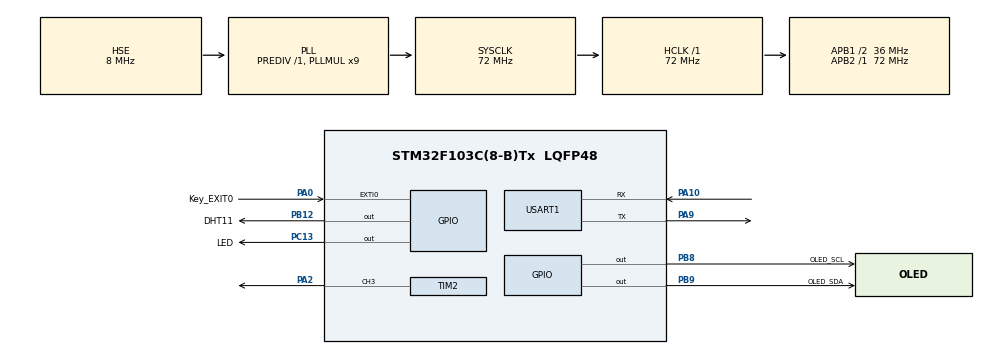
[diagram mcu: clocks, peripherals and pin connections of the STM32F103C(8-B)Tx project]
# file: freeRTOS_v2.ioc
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Dma.Request0=USART1_TX
Dma.Request1=USART1_RX
Dma.USART1_RX.1.Direction=DMA_PERIPH_TO_MEMORY
Dma.USART1_RX.1.Instance=DMA1_Channel5
Dma.USART1_RX.1.MemDataAlignment=DMA_MDATAALIGN_BYTE
Dma.USART1_RX.1.MemInc=DMA_MINC_ENABLE
Dma.USART1_RX.1.Mode=DMA_CIRCULAR
Dma.USART1_RX.1.PeriphDataAlignment=DMA_PDATAALIGN_BYTE
Dma.USART1_RX.1.PeriphInc=DMA_PINC_DISABLE
Dma.USART1_RX.1.Priority=DMA_PRIORITY_HIGH
Dma.USART1_TX.0.Direction=DMA_MEMORY_TO_PERIPH
Dma.USART1_TX.0.Instance=DMA1_Channel4
Dma.USART1_TX.0.MemDataAlignment=DMA_MDATAALIGN_BYTE
Dma.USART1_TX.0.MemInc=DMA_MINC_ENABLE
Dma.USART1_TX.0.Mode=DMA_NORMAL
Dma.USART1_TX.0.PeriphDataAlignment=DMA_PDATAALIGN_BYTE
Dma.USART1_TX.0.PeriphInc=DMA_PINC_DISABLE
Dma.USART1_TX.0.Priority=DMA_PRIORITY_HIGH
FREERTOS.BinarySemaphores01=Key_Event_Sem,Dynamic,NULL,Available
FREERTOS.Mutexes01=DeviceStatus_Mutex,Dynamic,NULL,Available
FREERTOS.Queues01=BT_Rx_Queue,3,uint16_t,0,Dynamic,NULL,NULL;Ctrl_Cmd_Queue,3,uint32_t,0,Dynamic,NULL,NULL;BT_Tx_Queue,3,16,1,Dynamic,NULL,NULL;Display_Data_Queue,2,uint16_t,0,Dynamic,NULL,NULL
FREERTOS.Tasks01=BT_Comm_Task,2,128,StartBTCommTask,Default,NULL,Dynamic,NULL,NULL;Ctrl_Exec_Task,1,128,StartCtrlExecTask,Default,NULL,Dynamic,NULL,NULL;Data_Sample_Tas,0,128,StartDataSampleTask,Default,NULL,Dynamic,NULL,NULL;Key_OLED_Task,-1,128,StartOLEDTask,Default,NULL,Dynamic,NULL,NULL
FREERTOS.configTOTAL_HEAP_SIZE=3840
Mcu.Family=STM32F1
Mcu.Name=STM32F103C(8-B)Tx
Mcu.Package=LQFP48
NVIC.DMA1_Channel4_IRQn=true\:5\:0\:false\:false\:true\:true\:false\:true\:true
NVIC.DMA1_Channel5_IRQn=true\:5\:0\:false\:false\:true\:true\:false\:true\:true
NVIC.EXTI0_IRQn=true\:5\:0\:false\:false\:true\:true\:true\:true\:true
NVIC.PriorityGroup=NVIC_PRIORITYGROUP_4
NVIC.TIM4_IRQn=true\:15\:0\:false\:false\:true\:false\:false\:true\:true
NVIC.TimeBase=TIM4_IRQn
NVIC.TimeBaseIP=TIM4
NVIC.USART1_IRQn=true\:5\:0\:false\:false\:true\:true\:false\:true\:true
PA0-WKUP.GPIO_Label=Key_EXIT0
PA0-WKUP.GPIO_ModeDefaultEXTI=GPIO_MODE_IT_FALLING
PA0-WKUP.GPIO_PuPd=GPIO_PULLUP
PA0-WKUP.Signal=GPXTI0
PA10.Mode=Asynchronous
PA10.Signal=USART1_RX
PA13.Mode=Serial_Wire
PA13.Signal=SYS_JTMS-SWDIO
PA14.Mode=Serial_Wire
PA14.Signal=SYS_JTCK-SWCLK
PA2.Signal=S_TIM2_CH3
PA9.Mode=Asynchronous
PA9.Signal=USART1_TX
PB12.GPIO_Label=DHT11
PB12.GPIO_ModeDefaultOutputPP=GPIO_MODE_OUTPUT_OD
PB12.GPIO_PuPd=GPIO_PULLUP
PB12.Signal=GPIO_Output
PB8.GPIO_Label=OLED_SCL
PB8.GPIO_PuPd=GPIO_PULLUP
PB8.Signal=GPIO_Output
PB9.GPIO_Label=OLED_SDA
PB9.GPIO_ModeDefaultOutputPP=GPIO_MODE_OUTPUT_OD
PB9.GPIO_PuPd=GPIO_PULLUP
PB9.Signal=GPIO_Output
PC13-TAMPER-RTC.GPIO_Label=LED
PC13-TAMPER-RTC.GPIO_ModeDefaultOutputPP=GPIO_MODE_OUTPUT_PP
PC13-TAMPER-RTC.Signal=GPIO_Output
PD0-OSC_IN.Mode=HSE-External-Oscillator
PD0-OSC_IN.Signal=RCC_OSC_IN
PD1-OSC_OUT.Mode=HSE-External-Oscillator
PD1-OSC_OUT.Signal=RCC_OSC_OUT
ProjectManager.HeapSize=0x200
ProjectManager.StackSize=0x400
ProjectManager.TargetToolchain=MDK-ARM V5.32
RCC.AHBFreq_Value=72000000
RCC.APB1CLKDivider=RCC_HCLK_DIV2
RCC.APB1Freq_Value=36000000
RCC.APB1TimFreq_Value=72000000
RCC.APB2Freq_Value=72000000
RCC.APB2TimFreq_Value=72000000
RCC.HCLKFreq_Value=72000000
RCC.PLLMUL=RCC_PLL_MUL9
RCC.PLLSourceVirtual=RCC_PLLSOURCE_HSE
RCC.SYSCLKFreq_VALUE=72000000
RCC.SYSCLKSource=RCC_SYSCLKSOURCE_PLLCLK
RCC.USBFreq_Value=72000000
SH.S_TIM2_CH3.0=TIM2_CH3,PWM Generation3 CH3
TIM2.AutoReloadPreload=TIM_AUTORELOAD_PRELOAD_ENABLE
TIM2.Channel-PWM\ Generation3\ CH3=TIM_CHANNEL_3
TIM2.Period=1999
TIM2.Prescaler=719
TIM2.Pulse-PWM\ Generation3\ CH3=150
USART1.VirtualMode=VM_ASYNC
VP_FREERTOS_VS_CMSIS_V1.Mode=CMSIS_V1
VP_SYS_VS_tim4.Mode=TIM4
VP_TIM2_VS_ClockSourceINT.Mode=Internal
board=custom

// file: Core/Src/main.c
/* USER CODE BEGIN Header */
/**
  ******************************************************************************
  * @file           : main.c
  * @brief          : Main program body
  ******************************************************************************
  * @attention
  *
  * Copyright (c) 2026 STMicroelectronics.
  * All rights reserved.
  *
  * This software is licensed under terms that can be found in the LICENSE file
  * in the root directory of this software component.
  * If no LICENSE file comes with this software, it is provided AS-IS.
  *
  ******************************************************************************
  */
/* USER CODE END Header */
#include "main.h"
#include "cmsis_os.h"
#include "dma.h"
#include "tim.h"
#include "usart.h"
#include "gpio.h"

/* USER CODE BEGIN Includes */
#include "led.h"
#include "key.h"
/* USER CODE END Includes */

void SystemClock_Config(void);
void MX_FREERTOS_Init(void);

int main(void)
{

  /* MCU Configuration--------------------------------------------------------*/

  /* Reset of all peripherals, Initializes the Flash interface and the Systick. */
  HAL_Init();

  /* Configure the system clock */
  SystemClock_Config();

  /* Initialize all configured peripherals */
  MX_GPIO_Init();
  MX_DMA_Init();
  MX_USART1_UART_Init();
  MX_TIM2_Init();
  /* USER CODE BEGIN 2 */
  led_init();
  /* USER CODE END 2 */

  /* Call init function for freertos objects (in cmsis_os2.c) */
  MX_FREERTOS_Init();

  /* Start scheduler */
  osKernelStart();

  /* We should never get here as control is now taken by the scheduler */

  /* Infinite loop */
  while (1)
  {

  }
}

void SystemClock_Config(void)
{
  RCC_OscInitTypeDef RCC_OscInitStruct = {0};
  RCC_ClkInitTypeDef RCC_ClkInitStruct = {0};

  /** Initializes the RCC Oscillators according to the specified parameters
  * in the RCC_OscInitTypeDef structure.
  */
  RCC_OscInitStruct.OscillatorType = RCC_OSCILLATORTYPE_HSE;
  RCC_OscInitStruct.HSEState = RCC_HSE_ON;
  RCC_OscInitStruct.HSEPredivValue = RCC_HSE_PREDIV_DIV1;
  RCC_OscInitStruct.HSIState = RCC_HSI_ON;
  RCC_OscInitStruct.PLL.PLLState = RCC_PLL_ON;
  RCC_OscInitStruct.PLL.PLLSource = RCC_PLLSOURCE_HSE;
  RCC_OscInitStruct.PLL.PLLMUL = RCC_PLL_MUL9;
  if (HAL_RCC_OscConfig(&RCC_OscInitStruct) != HAL_OK)
  {
    Error_Handler();
  }

  /** Initializes the CPU, AHB and APB buses clocks
  */
  RCC_ClkInitStruct.ClockType = RCC_CLOCKTYPE_HCLK|RCC_CLOCKTYPE_SYSCLK
                              |RCC_CLOCKTYPE_PCLK1|RCC_CLOCKTYPE_PCLK2;
  RCC_ClkInitStruct.SYSCLKSource = RCC_SYSCLKSOURCE_PLLCLK;
  RCC_ClkInitStruct.AHBCLKDivider = RCC_SYSCLK_DIV1;
  RCC_ClkInitStruct.APB1CLKDivider = RCC_HCLK_DIV2;
  RCC_ClkInitStruct.APB2CLKDivider = RCC_HCLK_DIV1;

  if (HAL_RCC_ClockConfig(&RCC_ClkInitStruct, FLASH_LATENCY_2) != HAL_OK)
  {
    Error_Handler();
  }
}

void HAL_TIM_PeriodElapsedCallback(TIM_HandleTypeDef *htim)
{
  if (htim->Instance == TIM4)
  {
    HAL_IncTick();
  }
}

void Error_Handler(void)
{
  __disable_irq();
  while (1)
  {
  }
}

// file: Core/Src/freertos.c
/* USER CODE BEGIN Header */
/**
  ******************************************************************************
  * File Name          : freertos.c
  * Description        : Code for freertos applications
  ******************************************************************************
  * @attention
  *
  * Copyright (c) 2026 STMicroelectronics.
  * All rights reserved.
  *
  * This software is licensed under terms that can be found in the LICENSE file
  * in the root directory of this software component.
  * If no LICENSE file comes with this software, it is provided AS-IS.
  *
  ******************************************************************************
  */
/* USER CODE END Header */

#include "FreeRTOS.h"
#include "task.h"
#include "queue.h"
#include "main.h"
#include "cmsis_os.h"

/* USER CODE BEGIN Includes */
#include <stdio.h>
#include <string.h>
#include "led.h"
#include "key.h"
#include "dht11.h"
#include "OLED.h"
#include "jdy31.h"
#include "sg90.h"

/* USER CODE END Includes */

/* USER CODE BEGIN Variables */

typedef struct {
  float temperature;
  float humidity;
  uint8_t led_state;
  uint8_t sg90_angle;
} Display_Data_Typedef;

// 对应项目文档的全局设备状态结构体，紧凑对齐节省内存
typedef struct __attribute__((packed)) {
    float temperature;    // 温度值
    float humidity;       // 湿度值
    uint8_t led_state;    // LED状态：0-灭 1-亮 2-闪烁中
    uint8_t sg90_angle;   // SG90当前角度（0-180°）
    uint8_t oled_page;    // OLED当前画面号：0-温湿度画面 1-状态画面
} DeviceStatus_Typedef;

// 全局设备状态变量，仅通过互斥锁访问
DeviceStatus_Typedef g_device_status = {0};

/************************* 蓝牙通信协议定义 *************************/
// 协议帧定义：帧头(0xAA) + 指令码(1字节) + 数据段(1字节) + 校验和(1字节) + 帧尾(0x55) = 5字节
#define PROTO_FRAME_HEAD    0xAA    // 帧头
#define PROTO_FRAME_TAIL    0x55    // 帧尾
#define PROTO_DATA_SIZE     1       // 数据段大小（角度值0-180°，1字节足够）
#define PROTO_FRAME_SIZE    5       // 完整帧大小

// 指令码定义（手机APP→设备，下行控制指令）
#define CMD_LED_ON          0x01    // 点亮LED
#define CMD_LED_OFF         0x02    // 熄灭LED
#define CMD_LED_BLINK       0x03    // LED闪烁
#define CMD_SG90_SET_ANGLE  0x04    // 设置SG90角度
#define CMD_GET_STATUS      0x05    // 查询设备状态

// 指令码定义（设备→手机APP，上行数据指令）
#define CMD_REPORT_STATUS   0x10    // 上报设备状态
#define CMD_REPORT_SENSOR   0x11    // 上报温湿度数据
#define CMD_ACK             0xFF    // 应答指令

// 下行控制指令结构体（推送到Ctrl_Cmd_Queue）
typedef struct __attribute__((packed)) {
    uint8_t cmd_code;       // 指令码
    uint8_t param[PROTO_DATA_SIZE];  // 数据段
} Ctrl_Cmd_Typedef;

// 上行数据报文结构体（推送到BT_Tx_Queue）
typedef struct __attribute__((packed)) {
    uint8_t cmd_code;       // 指令码
    uint8_t data[PROTO_DATA_SIZE];   // 数据段
}

BT_Tx_Msg_Typedef;

/* USER CODE END Variables */
osThreadId BT_Comm_TaskHandle;
osThreadId Ctrl_Exec_TaskHandle;
osThreadId Data_Sample_TasHandle;
osThreadId Key_OLED_TaskHandle;
osMessageQId BT_Rx_QueueHandle;
osMessageQId Ctrl_Cmd_QueueHandle;
osMessageQId BT_Tx_QueueHandle;
QueueHandle_t Display_Data_QueueHandle;
osMutexId DeviceStatus_MutexHandle;
osSemaphoreId Key_Event_SemHandle;

void StartBTCommTask(void const * argument);
void StartCtrlExecTask(void const * argument);
void StartDataSampleTask(void const * argument);
void StartOLEDTask(void const * argument);

void MX_FREERTOS_Init(void); /* (MISRA C 2004 rule 8.1) */

/* GetIdleTaskMemory prototype (linked to static allocation support) */
void vApplicationGetIdleTaskMemory( StaticTask_t **ppxIdleTaskTCBBuffer, StackType_t **ppxIdleTaskStackBuffer, uint32_t *pulIdleTaskStackSize );

/* USER CODE BEGIN GET_IDLE_TASK_MEMORY */
static StaticTask_t xIdleTaskTCBBuffer;
static StackType_t xIdleStack[configMINIMAL_STACK_SIZE];

void vApplicationGetIdleTaskMemory( StaticTask_t **ppxIdleTaskTCBBuffer, StackType_t **ppxIdleTaskStackBuffer, uint32_t *pulIdleTaskStackSize )
{
  *ppxIdleTaskTCBBuffer = &xIdleTaskTCBBuffer;
  *ppxIdleTaskStackBuffer = &xIdleStack[0];
  *pulIdleTaskStackSize = configMINIMAL_STACK_SIZE;
  /* place for user code */
}
/* USER CODE END GET_IDLE_TASK_MEMORY */

void MX_FREERTOS_Init(void) {
  /* Create the mutex(es) */
  /* definition and creation of DeviceStatus_Mutex */
  osMutexDef(DeviceStatus_Mutex);
  DeviceStatus_MutexHandle = osMutexCreate(osMutex(DeviceStatus_Mutex));

  /* Create the semaphores(s) */
  /* definition and creation of Key_Event_Sem */
  osSemaphoreDef(Key_Event_Sem);
  Key_Event_SemHandle = osSemaphoreCreate(osSemaphore(Key_Event_Sem), 1);

  /* Create the queue(s) */
  /* definition and creation of BT_Rx_Queue */
  osMessageQDef(BT_Rx_Queue, 3, uint16_t);
  BT_Rx_QueueHandle = osMessageCreate(osMessageQ(BT_Rx_Queue), NULL);

  /* definition and creation of Ctrl_Cmd_Queue */
  osMessageQDef(Ctrl_Cmd_Queue, 3, uint32_t);
  Ctrl_Cmd_QueueHandle = osMessageCreate(osMessageQ(Ctrl_Cmd_Queue), NULL);

  /* definition and creation of BT_Tx_Queue */
  osMessageQDef(BT_Tx_Queue, 3, 16);
  BT_Tx_QueueHandle = osMessageCreate(osMessageQ(BT_Tx_Queue), NULL);

  /* definition and creation of Display_Data_Queue (by value, FreeRTOS queue) */
  Display_Data_QueueHandle = xQueueCreate(2, sizeof(Display_Data_Typedef));

  /* Create the thread(s) */
  /* definition and creation of BT_Comm_Task */
  osThreadDef(BT_Comm_Task, StartBTCommTask, osPriorityHigh, 0, 196);
  BT_Comm_TaskHandle = osThreadCreate(osThread(BT_Comm_Task), NULL);

  /* definition and creation of Ctrl_Exec_Task */
  osThreadDef(Ctrl_Exec_Task, StartCtrlExecTask, osPriorityAboveNormal, 0, 128);
  Ctrl_Exec_TaskHandle = osThreadCreate(osThread(Ctrl_Exec_Task), NULL);

  /* definition and creation of Data_Sample_Tas */
  osThreadDef(Data_Sample_Tas, StartDataSampleTask, osPriorityNormal, 0, 128);
  Data_Sample_TasHandle = osThreadCreate(osThread(Data_Sample_Tas), NULL);

  /* definition and creation of Key_OLED_Task */
  osThreadDef(Key_OLED_Task, StartOLEDTask, osPriorityBelowNormal, 0, 128);
  Key_OLED_TaskHandle = osThreadCreate(osThread(Key_OLED_Task), NULL);

}

void StartBTCommTask(void const * argument)
{
  /* USER CODE BEGIN StartBTCommTask */
  // 初始化JDY31驱动并设置接收队列
  JDY31_Init();
  JDY31_SetRxQueue(BT_Rx_QueueHandle);

  uint8_t *rx_buf = JDY31_GetRxBuf();
  uint16_t rx_len;
  osEvent rx_event;
  char *tx_data;  // 发送数据指针（从队列获取）
  for(;;)
  {
    /* ============ 阶段1：阻塞等待接收队列 ============ */
    // 阻塞等待USART1空闲中断推送到队列的消息（接收到的数据长度）
    // 修改：使用10ms超时而非osWaitForever，确保能定期检查发送队列
    rx_event = osMessageGet(BT_Rx_QueueHandle, pdMS_TO_TICKS(10));

    if (rx_event.status == osEventMessage)
    {
      rx_len = JDY31_GetRxLen();

      if (rx_len > 0)
      {
        /* ============ 阶段2：文本指令解析 ============ */
        // 将接收到的数据作为字符串处理（以\r\n结尾）
        rx_buf[rx_len] = '\0';  // 添加字符串结束符

        // 解析文本指令
        Ctrl_Cmd_Typedef ctrl_cmd;
        memset(ctrl_cmd.param, 0, PROTO_DATA_SIZE);
        ctrl_cmd.cmd_code = 0;

        // 比较指令字符串
        if (strncmp((char*)rx_buf, "LED_ON", 6) == 0)
        {
          ctrl_cmd.cmd_code = CMD_LED_ON;
        }
        else if (strncmp((char*)rx_buf, "LED_OFF", 7) == 0)
        {
          ctrl_cmd.cmd_code = CMD_LED_OFF;
        }
        else if (strncmp((char*)rx_buf, "LED_BLINK", 9) == 0)
        {
          ctrl_cmd.cmd_code = CMD_LED_BLINK;
        }
        else if (strncmp((char*)rx_buf, "SET_ANGLE=", 10) == 0)
        {
          // 解析角度参数：SET_ANGLE=90
          ctrl_cmd.cmd_code = CMD_SG90_SET_ANGLE;
          uint8_t angle = 0;
          // 方法1：使用sscanf解析
          // 从rx_buf[10]开始解析数字（跳过"SET_ANGLE="）
          // 例如："SET_ANGLE=90\r\n" → 从位置10开始是"90\r\n"
          if (rx_event.value.v > 10)
          {
            sscanf((char*)&rx_buf[10], "%hhu", &angle);
          }
          ctrl_cmd.param[0] = angle;  // 角度参数存储到param[0]
        }
        else if (strncmp((char*)rx_buf, "GET_STATUS", 10) == 0)
        {
          ctrl_cmd.cmd_code = CMD_GET_STATUS;
        }

        // 如果解析到有效指令，推送到控制指令队列
        if (ctrl_cmd.cmd_code != 0)
        {
          osMessagePut(Ctrl_Cmd_QueueHandle, *(uint32_t*)&ctrl_cmd, 0);
        }
        // 清空接收缓冲区
        JDY31_ClearRxBuf();
      }
    }

    /* ============ 阶段3：阻塞等待发送队列 ============ */
    // 阻塞等待发送队列中的温湿度数据（最多等待10ms）
    rx_event = osMessageGet(BT_Tx_QueueHandle, pdMS_TO_TICKS(10));

    if (rx_event.status == osEventMessage)
    {
      // 从队列获取数据指针（BT_Tx_Queue现在传递的是数据地址）
      tx_data = (char*)rx_event.value.p;

      // 直接发送纯文本数据（不经过协议帧封装）
      if (tx_data != NULL)
      {
        JDY31_DMA_Send((uint8_t*)tx_data, strlen(tx_data));
      }
    }
    else
    {
      // 发送队列为空，强制让出CPU，避免连续处理时占用过多时间
      osDelay(1);
    }
  }
  /* USER CODE END StartBTCommTask */
}

void StartCtrlExecTask(void const * argument)
{
  /* USER CODE BEGIN StartCtrlExecTask */
  // 初始化硬件外设
  sg90_init();  // 初始化SG90舵机（设置到90°中间位置）

  // 声明控制指令接收事件
  osEvent cmd_event;

  // 静态发送缓冲区（用于发送状态反馈消息）
  static char status_buf[64];

  // 声明switch中使用的变量
  float temp = 0.0f, humi = 0.0f;
  uint8_t led = 0, angle = 0;
  const char *led_str = NULL;
  int len = 0;

  for(;;)
  {
    // 阻塞等待控制指令队列（无限等待）
    cmd_event = osMessageGet(Ctrl_Cmd_QueueHandle, osWaitForever);

    if (cmd_event.status == osEventMessage)
    {
      // 将队列中的32位数据转换为Ctrl_Cmd_Typedef结构体
      Ctrl_Cmd_Typedef *ctrl_cmd = (Ctrl_Cmd_Typedef*)&cmd_event.value.v;

      // 根据指令码执行相应控制动作
      switch (ctrl_cmd->cmd_code)
      {
        case CMD_LED_ON:
          led_on();
          // 更新全局设备状态
          if (osMutexWait(DeviceStatus_MutexHandle, 100) == osOK)
          {
            g_device_status.led_state = 1;
            osMutexRelease(DeviceStatus_MutexHandle);
          }
          break;

        case CMD_LED_OFF:
          led_off();
          // 更新全局设备状态
          if (osMutexWait(DeviceStatus_MutexHandle, 100) == osOK)
          {
            g_device_status.led_state = 0;
            osMutexRelease(DeviceStatus_MutexHandle);
          }
          break;

        case CMD_LED_BLINK:
          // LED闪烁5次
          for (uint8_t i = 0; i < 5; i++)
          {
            led_on();
            osDelay(200);
            led_off();
            osDelay(200);
          }
          // 更新全局设备状态
          if (osMutexWait(DeviceStatus_MutexHandle, 100) == osOK)
          {
            g_device_status.led_state = 0;
            osMutexRelease(DeviceStatus_MutexHandle);
          }
          break;

        case CMD_SG90_SET_ANGLE:
          // 设置SG90角度（参数存储在param[0]中）
          sg90_set_angle(ctrl_cmd->param[0]);
          // 更新全局设备状态
          if (osMutexWait(DeviceStatus_MutexHandle, 100) == osOK)
          {
            g_device_status.sg90_angle = ctrl_cmd->param[0];
            osMutexRelease(DeviceStatus_MutexHandle);
          }
          break;

        case CMD_GET_STATUS:
          // 查询设备状态，格式化发送到蓝牙
          // 格式："LED:ON SG90:90 T:28.5C H:60.2%\r\n"
          if (osMutexWait(DeviceStatus_MutexHandle, 100) == osOK)
          {
            led = g_device_status.led_state;
            angle = g_device_status.sg90_angle;
            temp = g_device_status.temperature;
            humi = g_device_status.humidity;
            osMutexRelease(DeviceStatus_MutexHandle);
          }

          led_str = (led == 1) ? "ON" : ((led == 2) ? "BLK" : "OFF");
          len = snprintf(status_buf, sizeof(status_buf),
                        "LED:%s SG90:%d T:%.1fC H:%.1f%%\r\n",
                        led_str, angle, temp, humi);
          if (len > 0 && len <= sizeof(status_buf))
          {
            osMessagePut(BT_Tx_QueueHandle, (uint32_t)status_buf, 0);
          }
          break;

        default:
          // 未知指令，忽略
          break;
      }
    }
  }
  /* USER CODE END StartCtrlExecTask */
}

void StartDataSampleTask(void const * argument)
{
  /* USER CODE BEGIN StartDataSampleTask */
  // 结构体名适配新驱动：DHT11_Data_TypeDef
  static DHT11_Data_TypeDef dht11_data = {0};
  static Display_Data_Typedef display_msg = {0};
  static char tx_buf[32];  // 改为静态变量，避免DMA发送时内存被覆盖
  uint8_t res = 0;
  uint32_t xLastWakeTime;
  float temperature = 0.0f;
  float humidity = 0.0f;

  // 1. 等待DHT11上电稳定（必须！DHT11上电1s内不响应指令）
  osDelay(1000);
  // 2. 初始化周期基准时间
  xLastWakeTime = osKernelSysTick();

  /* Infinite loop */
  for(;;)
  {
    // 精准1s周期采集，符合项目文档"周期误差≤10ms"要求
    // 注意：osDelayUntil参数是tick数，configTICK_RATE_HZ=1000，所以1000=1秒
    vTaskDelayUntil(&xLastWakeTime, pdMS_TO_TICKS(1500));

    // 【修改3】读取函数名适配：DHT11_ReadData
    // 【修改4】返回值逻辑适配：新驱动返回1=成功，非1=失败（错误码）
    res = DHT11_ReadData(&dht11_data);
    if(res == 1)  // 采集+校验成功
    {
      // 拼接温湿度数值（DHT11小数部分固定为0，直接用整数部分）
      temperature = (float)dht11_data.temp_int + (float)dht11_data.temp_dec * 0.1f;
      humidity = (float)dht11_data.humi_int + (float)dht11_data.humi_dec * 0.1f;

      /************************* 互斥锁保护：更新全局设备状态 *************************/
      if(osMutexWait(DeviceStatus_MutexHandle, 100) == osOK)
      {
        g_device_status.temperature = temperature;
        g_device_status.humidity = humidity;
        display_msg.led_state = g_device_status.led_state;
        display_msg.sg90_angle = g_device_status.sg90_angle;
        osMutexRelease(DeviceStatus_MutexHandle);
      }

      display_msg.temperature = temperature;
      display_msg.humidity = humidity;

      /************************* 发送数据到显示队列（按值拷贝） *************************/
      xQueueSend(Display_Data_QueueHandle, &display_msg, 0);

      /************************* 发送数据到蓝牙发送队列（上报温湿度） *************************/
      // 将温湿度数据格式化后推送到队列（线程同步）
      // 格式："T:28.5C H:60.2%"
      int data_len = snprintf(tx_buf, sizeof(tx_buf), "T:%.1fC H:%.1f%%\r\n", temperature, humidity);
      if (data_len > 0 && data_len <= sizeof(tx_buf))
      {
        // 推送到蓝牙发送队列（传递数据地址）
        osMessagePut(BT_Tx_QueueHandle, (uint32_t)tx_buf, 0);
      }

      // 【新手调试用】可以在这里加串口打印，看采集到的数据
      // printf("采集成功：温度=%.1f℃，湿度=%.1f%%RH\r\n", temperature, humidity);
    }
    else
    {
      // DHT11 读取失败，发送错误信息（用于调试）
      const char *error_msg = "DHT11_READ_FAIL\r\n";
      JDY31_DMA_Send((uint8_t*)error_msg, strlen(error_msg));
    }
  }
  /* USER CODE END StartDataSampleTask */
}

void StartOLEDTask(void const * argument)
{
  /* USER CODE BEGIN StartOLEDTask */
  led_init();
  key_init();
  OLED_Init();
  OLED_Clear();

  Display_Data_Typedef latest = {0};
  uint8_t has_data = 0;
  uint8_t need_refresh = 1;
  uint8_t current_page = 0;

  if(osMutexWait(DeviceStatus_MutexHandle, 100) == osOK)
  {
    current_page = g_device_status.oled_page;
    osMutexRelease(DeviceStatus_MutexHandle);
  }

  for(;;)
  {
    if(xQueueReceive(Display_Data_QueueHandle, &latest, pdMS_TO_TICKS(100)) == pdPASS)
    {
      has_data = 1;
      need_refresh = 1;
    }
    if(osSemaphoreWait(Key_Event_SemHandle, 0) == osOK)
    {
      osDelay(20);
      if(KEY_READ_PIN() == GPIO_PIN_RESET)
      {
        if(osMutexWait(DeviceStatus_MutexHandle, 100) == osOK)
        {
          g_device_status.oled_page = (g_device_status.oled_page == 0) ? 1 : 0;
          current_page = g_device_status.oled_page;
          osMutexRelease(DeviceStatus_MutexHandle);
        }
        need_refresh = 1;
      }
    }

    if(need_refresh && has_data)
    {
      char line[24];
      OLED_Clear();
      if(current_page == 0)
      {
        snprintf(line, sizeof(line), "Temp: %.1f C", latest.temperature);
        OLED_ShowString(1, 1, line);
        snprintf(line, sizeof(line), "Humi: %.1f %%", latest.humidity);
        OLED_ShowString(2, 1, line);
      }
      else
      {
        const char *led_str = "OFF";
        if(latest.led_state == 1) led_str = "ON";
        else if(latest.led_state == 2) led_str = "BLK";

        snprintf(line, sizeof(line), "LED: %s", led_str);
        OLED_ShowString(1, 1, line);
        snprintf(line, sizeof(line), "SG90: %3u", (unsigned int)latest.sg90_angle);
        OLED_ShowString(2, 1, line);
      }

      need_refresh = 0;
    }
  }
  /* USER CODE END StartOLEDTask */
}
